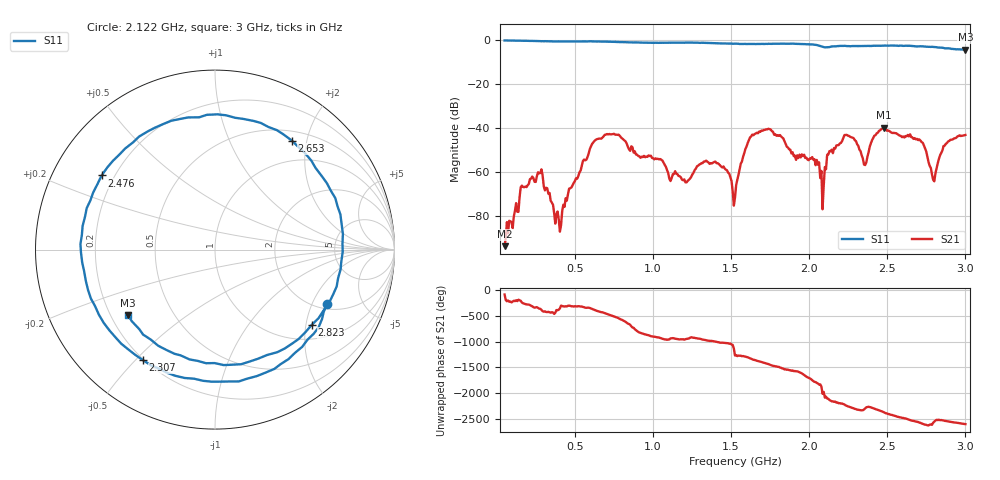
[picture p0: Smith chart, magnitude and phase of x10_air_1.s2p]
! nanovna_capture.py 2026-10-18T20:24:37+0900
! NanoVNA-F_V2 fw 0.6.0 SN 4A3639384505514B
! cal: load open short thru cal'ed  over 50000000-3000000000 Hz, 201 points
! points 401, avg 4
! S21: port1 = green ~10 mm H loop (flat, tape), port2 = GSM antenna 20-30 cm away; free air, capture 1
# HZ S RI R 50
! S12 and S22 are not measured (written as 0)
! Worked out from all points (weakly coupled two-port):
!   401 points, 50 MHz to 3 GHz, reference 50 ohm
!   highest |S21| = -39.79 dB at 2.476 GHz (marker M1); lowest = -93.8 dB at 50 MHz (marker M2)
!   lowest |S11| = -4.3 dB at 3 GHz (marker M3), VSWR 4.09, Z = 13.5 - j15.5 ohm
!   |S11| at or under -10 dB: nowhere
!   S12 and S22 are empty: the file has one direction only
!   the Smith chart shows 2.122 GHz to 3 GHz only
!   S11 on the Smith chart (normalised r, x): 2.122 GHz: 2.21, -2.60; 2.307 GHz: 0.20, -0.53; 2.476 GHz: 0.15, +0.29; 2.653 GHz: 0.65, +1.75; 2.823 GHz: 1.37, -2.16; 3 GHz: 0.27, -0.31
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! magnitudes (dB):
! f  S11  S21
! 50 MHz  -0.1  -93.8
! 278.6 MHz  -0.4  -60.5
! 404 MHz  -0.6  -87.2
! 544.1 MHz  -0.6  -57.1
! 706.4 MHz  -0.7  -42.7
! 1.038 GHz  -1.2  -54.3
! 1.208 GHz  -1.1  -64.7
! 1.407 GHz  -1.4  -56.0
! 1.525 GHz  -1.6  -71.7
! 1.606 GHz  -1.7  -46.9
! 1.695 GHz  -1.7  -41.2
! 2.019 GHz  -1.9  -53.2
! 2.086 GHz  -3.0  -77.0
! 2.122 GHz  -3.2  -52.1
! 2.307 GHz  -2.7  -47.4
! 2.358 GHz  -2.6  -56.9
! 2.476 GHz  -2.4  -39.8
! 2.513 GHz  -2.5  -41.4
! 2.653 GHz  -2.6  -44.1
! 2.793 GHz  -3.0  -63.6
! 2.823 GHz  -3.3  -56.1
! 3 GHz  -4.3  -43.2
